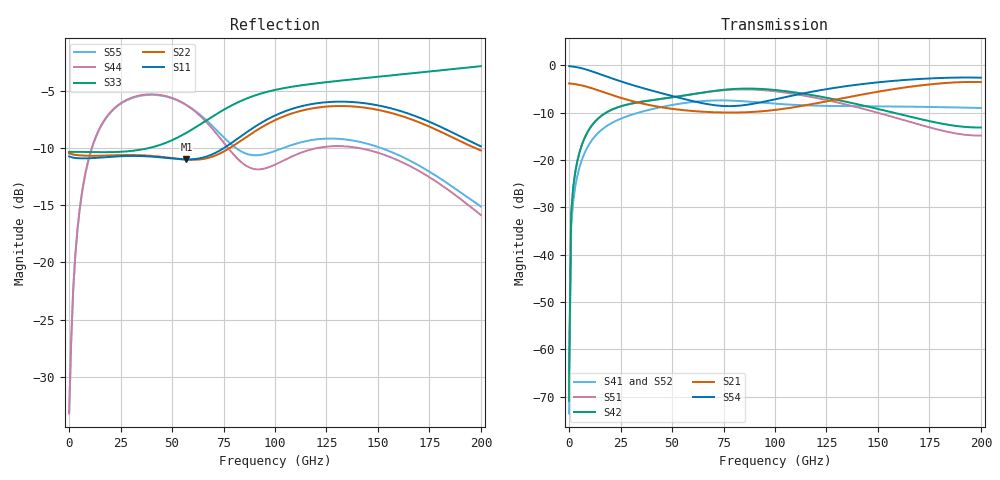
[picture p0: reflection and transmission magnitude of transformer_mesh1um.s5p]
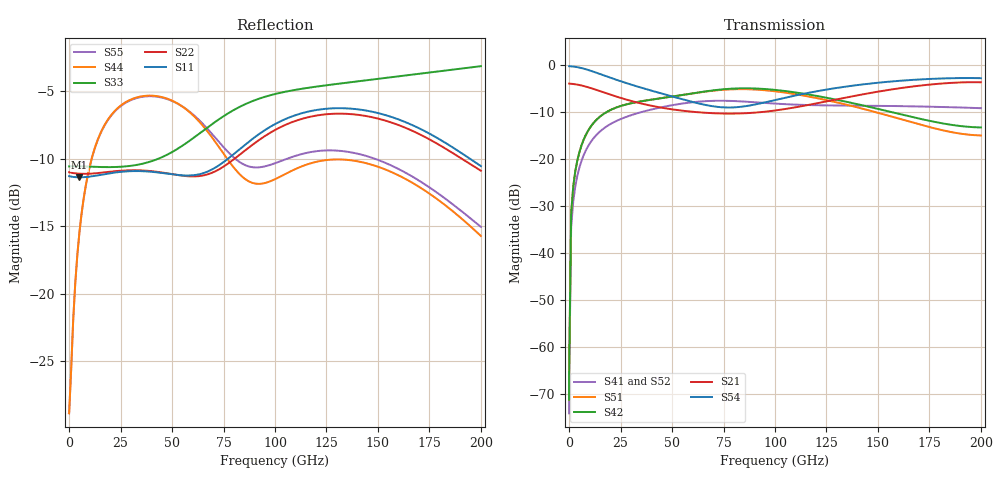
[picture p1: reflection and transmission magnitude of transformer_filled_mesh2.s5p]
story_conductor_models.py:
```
#!/usr/bin/env python
"""Plot and numbers for README.md section "Conductor model": surface impedance (the mesh study above) vs. conductors meshed as
volumes: settings['conductor_model'] = 'solve_inside' and 'solve_inside_skin'.

Writes results/plots/story_conductor_models.png (primary and secondary Q vs. frequency, 30 GHz marked) and prints the
numbers quoted in README.md. Reference: 'solve_inside_skin', 1 um mesh. DOF from the Palace output of each run.
"""
import os
import matplotlib
matplotlib.use("Agg")
import matplotlib.pyplot as plt

import story_plots as S

RUNS = [  # label, Touchstone file, DOF, color, line style
    ("surface impedance, 1 µm", "transformer_mesh1um.s5p", 576114, S.BLUE, "-"),
    ("solve_inside, 2 µm", "transformer_filled_mesh2.s5p", 371626, S.ORANGE, "--"),
    ("solve_inside_skin, 2 µm", "transformer_skin_mesh2.s5p", 686496, S.AQUA, "--"),
    ("solve_inside_skin, 1 µm", "transformer_skin_mesh1.s5p", 1461740, S.INK, "-"),
]
TABLE = RUNS[-1:] + [("solve_inside_skin, 2 µm", "transformer_skin_mesh2.s5p", 686496, None, None),
                     ("solve_inside_skin, 4 µm", "transformer_skin_mesh4.s5p", 352338, None, None),
                     ("solve_inside_skin, layers for 50 GHz, 2 µm", "transformer_skin50_mesh2.s5p", 674028, None, None),
                     ("solve_inside, 2 µm", "transformer_filled_mesh2.s5p", 371626, None, None),
                     ("surface impedance, 1 µm", "transformer_mesh1um.s5p", 576114, None, None),
                     ("surface impedance, 2 µm", "transformer_mesh2um.s5p", 312234, None, None)]
REFERENCE = "transformer_skin_mesh1.s5p"


def plot():
    fig, axes = plt.subplots(1, 2, figsize=(10, 3.9), sharex=True, sharey=True)
    for label, fname, _, color, ls in RUNS:
        ntw = S.load(fname)
        m = S.coil(ntw)
        keep = ntw.f <= S.F_PLOT_MAX
        for ax, key in zip(axes, ("Qp", "Qs")):
            ax.plot(ntw.f[keep] / 1e9, m[key][keep], color=color, linestyle=ls, linewidth=2, label=label)
    for ax, title in zip(axes, ("Primary Q", "Secondary Q")):
        S.style(ax)
        ax.axvline(S.F_DESIGN / 1e9, color=S.INK2, linewidth=1, linestyle=":")
        ax.set_title(title, loc="left", fontsize=11, color=S.INK)
        ax.set_xlabel("Frequency (GHz)", color=S.INK2)
    axes[0].set_xlim(0, S.F_PLOT_MAX / 1e9)
    axes[0].set_ylim(bottom=0)
    handles, labels = axes[0].get_legend_handles_labels()
    fig.legend(handles, labels, loc="upper center", ncol=3, frameon=False, fontsize=9)
    fig.tight_layout(rect=(0, 0, 1, 0.84))
    out = os.path.join(S.PLOT_DIR, "story_conductor_models.png")
    fig.savefig(out, dpi=130, facecolor="white")
    plt.close(fig)
    print("wrote", out)


def numbers():
    ref = S.load(REFERENCE)
    r = S.coil(ref)
    rv = {k: S.at(ref, r[k], S.F_DESIGN) for k in r}
    print(f"\nAt {S.F_DESIGN / 1e9:.0f} GHz, relative to {REFERENCE}")
    print(f"{'model':40s} {'DOF':>10s} {'Lp':>7s} {'dLp':>6s} {'k':>6s} {'dk':>6s} {'Qp':>6s} {'dQp':>7s} {'Qs':>6s} {'dQs':>7s}")
    for label, fname, dof, _, _ in TABLE:
        ntw = S.load(fname)
        m = S.coil(ntw)
        v = {k: S.at(ntw, m[k], S.F_DESIGN) for k in m}
        d = {k: 100 * (v[k] / rv[k] - 1) for k in v}
        print(f"{label:40s} {dof:10,d} {v['Lp']:7.4f} {d['Lp']:+5.1f}% {v['k']:6.4f} {d['k']:+5.1f}% "
              f"{v['Qp']:6.2f} {d['Qp']:+6.1f}% {v['Qs']:6.2f} {d['Qs']:+6.1f}%")


if __name__ == "__main__":
    plot()
    numbers()
```
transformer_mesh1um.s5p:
! Created with skrf 2.1.0 (http://scikit-rf.org).
# GHz S DB R 50.0
! Port[1] = P1
! Port[2] = P2
! Port[3] = P3
! Port[4] = P4
! Port[5] = P5
!freq dBS11 angS11 dBS12 angS12 dBS13 angS13
! dBS14 angS14 dBS15 angS15
! dBS21 angS21 dBS22 angS22 dBS23 angS23
! dBS24 angS24 dBS25 angS25
! dBS31 angS31 dBS32 angS32 dBS33 angS33
! dBS34 angS34 dBS35 angS35
! dBS41 angS41 dBS42 angS42 dBS43 angS43
! dBS44 angS44 dBS45 angS45
! dBS51 angS51 dBS52 angS52 dBS53 angS53
! dBS54 angS54 dBS55 angS55
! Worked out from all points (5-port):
!   202 points, 10 MHz to 200 GHz, reference 50 ohm
!   strongest paths, dB at 10 MHz, 49 GHz, 100 GHz, 150 GHz, 200 GHz:
!     S54: -0.2, -6.4, -7.2, -3.6, -2.6
!     S21: -3.8, -9.1, -9.4, -5.6, -3.6
!     S42: -70.9, -6.8, -5.2, -9.2, -13.1
!     S51: -70.9, -6.8, -5.5, -10.0, -14.9
!     S41: -73.5, -8.5, -8.1, -8.7, -9.0
!     S52: -73.5, -8.5, -8.1, -8.8, -9.3
!   lowest |S11| = -11.0 dB at 57 GHz (marker M1), VSWR 1.79, Z = 72.7 + j27.2 ohm
!   |S11| at or under -10 dB: start of sweep to 75.23 GHz
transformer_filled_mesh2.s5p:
! Created with skrf 2.1.0 (http://scikit-rf.org).
# GHz S DB R 50.0
! Port[1] = P1
! Port[2] = P2
! Port[3] = P3
! Port[4] = P4
! Port[5] = P5
!freq dBS11 angS11 dBS12 angS12 dBS13 angS13
! dBS14 angS14 dBS15 angS15
! dBS21 angS21 dBS22 angS22 dBS23 angS23
! dBS24 angS24 dBS25 angS25
! dBS31 angS31 dBS32 angS32 dBS33 angS33
! dBS34 angS34 dBS35 angS35
! dBS41 angS41 dBS42 angS42 dBS43 angS43
! dBS44 angS44 dBS45 angS45
! dBS51 angS51 dBS52 angS52 dBS53 angS53
! dBS54 angS54 dBS55 angS55
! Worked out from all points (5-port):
!   202 points, 10 MHz to 200 GHz, reference 50 ohm
!   strongest paths, dB at 10 MHz, 49 GHz, 100 GHz, 150 GHz, 200 GHz:
!     S54: -0.3, -6.6, -7.5, -3.8, -2.9
!     S21: -4.0, -9.4, -9.7, -5.7, -3.7
!     S42: -71.3, -6.9, -5.4, -9.4, -13.3
!     S51: -71.3, -6.8, -5.7, -10.2, -15.1
!     S41: -74.1, -8.7, -8.3, -8.8, -9.3
!     S52: -74.1, -8.7, -8.3, -8.9, -9.5
!   lowest |S11| = -11.4 dB at 5 GHz (marker M1), VSWR 1.74, Z = 30.1 + j8.68 ohm
!   |S11| at or under -10 dB: start of sweep to 77.26 GHz; 194.6 GHz to end of sweep
